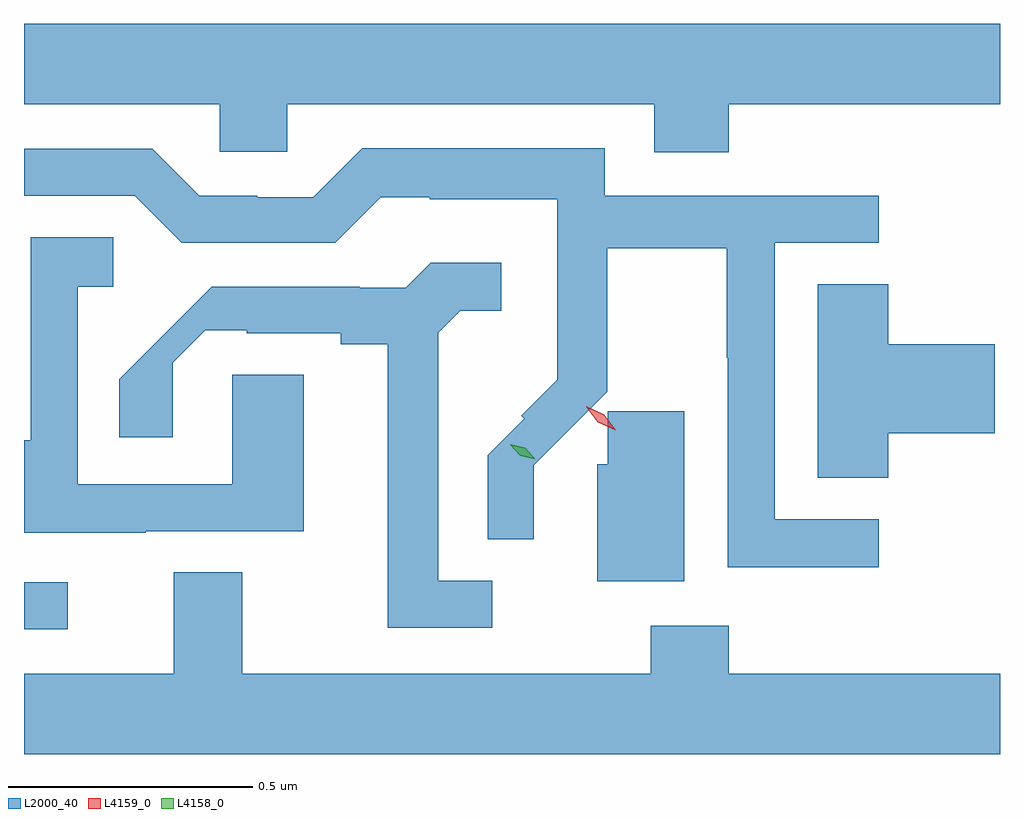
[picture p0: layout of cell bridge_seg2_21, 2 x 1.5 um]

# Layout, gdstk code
import gdstk
lib = gdstk.Library(unit=1e-6, precision=1e-09)
def R(c, l, rs):  # rectangles x0, y0, x1, y1
    for r in rs: c.add(gdstk.rectangle(r[:2], r[2:], *l))
def P(c, l, *ps):  # polygons
    for p in ps: c.add(gdstk.Polygon(p, *l))
L2000_40 = (2000, 40)
L4158_0 = (4158, 0)
L4159_0 = (4159, 0)

bridge_seg2_21 = lib.new_cell('bridge_seg2_21')
R(bridge_seg2_21, L2000_40, [(734.266,606.6,734.356,606.696)])
P(bridge_seg2_21, L2000_40, [(735.71,607.676),(736.266,607.676),(736.266,607.84),(734.266,607.84),(734.266,607.676),(734.667,607.676),(734.667,607.578),(734.805,607.578),(734.805,607.676),(735.557,607.676),(735.557,607.577),(735.71,607.577)],
  [(736.018,606.825),(735.804,606.825),(735.804,607.392),(736.018,607.392),(736.018,607.488),(735.456,607.488),(735.456,607.585),(734.959,607.585),(734.859,607.485),(734.744,607.485),(734.744,607.488),(734.625,607.488),(734.529,607.584),(734.266,607.584),(734.266,607.488),(734.493,607.488),(734.589,607.392),(734.904,607.392),(734.997,607.485),(735.097,607.485),(735.097,607.481),(735.359,607.481),(735.359,607.111),(735.285,607.037),(735.291,607.031),(735.216,606.956),(735.216,606.784),(735.311,606.784),(735.311,606.936),(735.461,607.086),(735.461,607.38),(735.706,607.38),(735.706,607.156),(735.708,607.156),(735.708,606.727),(736.018,606.727)],
  [(734.515,606.801),(734.839,606.801),(734.839,607.121),(734.693,607.121),(734.693,606.897),(734.376,606.897),(734.376,607.302),(734.449,607.302),(734.449,607.403),(734.28,607.403),(734.28,606.987),(734.266,606.987),(734.266,606.797),(734.515,606.797)],
  [(735.226,606.699),(735.115,606.699),(735.115,607.207),(735.16,607.252),(735.244,607.252),(735.244,607.351),(735.1,607.351),(735.048,607.299),(734.954,607.299),(734.954,607.302),(734.651,607.302),(734.461,607.112),(734.461,606.993),(734.571,606.993),(734.571,607.146),(734.637,607.212),(734.722,607.212),(734.722,607.206),(734.915,607.206),(734.915,607.184),(735.011,607.184),(735.011,606.603),(735.226,606.603)],
  [(736.037,607.001),(736.255,607.001),(736.255,607.184),(736.037,607.184),(736.037,607.307),(735.893,607.307),(735.893,606.91),(736.037,606.91)],
  [(735.619,607.046),(735.462,607.046),(735.462,606.938),(735.441,606.938),(735.441,606.698),(735.619,606.698)],
  [(736.266,606.508),(735.71,606.508),(735.71,606.607),(735.55,606.607),(735.55,606.508),(734.713,606.508),(734.713,606.716),(734.573,606.716),(734.573,606.508),(734.266,606.508),(734.266,606.344),(736.266,606.344)])
P(bridge_seg2_21, L4158_0, [(735.314,606.948),(735.283,606.955),(735.262,606.978),(735.262,606.978),(735.262,606.979),(735.293,606.972),(735.314,606.948),(735.314,606.948)])
P(bridge_seg2_21, L4159_0, [(735.479,607.007),(735.442,607.024),(735.418,607.056),(735.418,607.057),(735.418,607.057),(735.455,607.039),(735.479,607.007),(735.479,607.007)])

lib.write_gds('bridge_seg2_21.gds')
